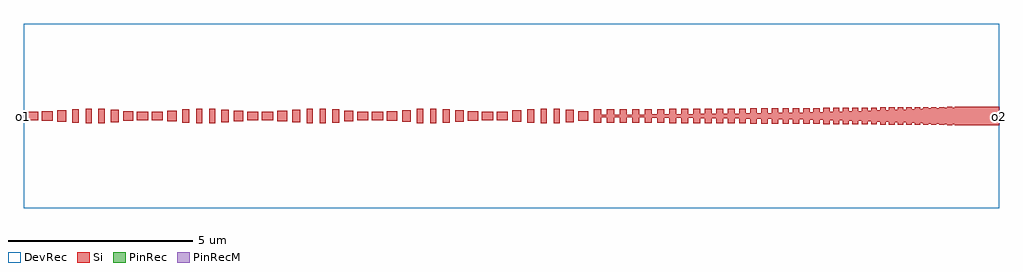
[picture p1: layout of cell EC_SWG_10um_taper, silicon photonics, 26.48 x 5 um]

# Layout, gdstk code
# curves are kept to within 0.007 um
import gdstk
lib = gdstk.Library(unit=1e-6, precision=1e-09)
def R(c, l, rs):  # rectangles x0, y0, x1, y1
    for r in rs: c.add(gdstk.rectangle(r[:2], r[2:], *l))
def P(c, l, *ps):  # polygons
    for p in ps: c.add(gdstk.Polygon(p, *l))
Si = (1, 0)
PinRec = (1, 10)
PinRecM = (1, 11)
DevRec = (68, 0)

nonlinear_taper_3 = lib.new_cell('Nonlinear_Taper$3')
P(nonlinear_taper_3, Si, [(10,-0.25),(8.081,-0.164),(5.758,-0.098),(3.535,-0.062),(0,-0.03),(0,0.03),(3.535,0.062),(5.758,0.098),(8.081,0.164),(10,0.25)])

rectangle_s1_0p5_lwg_cf_ = lib.new_cell('rectangle_S1_0p5_LWG_CF_2a77620c$3')
R(rectangle_s1_0p5_lwg_cf_, Si, [(0,0,1,0.5)])

ec_swg_10um_taper = lib.new_cell('EC_SWG_10um_taper')
R(ec_swg_10um_taper, Si, [(25.027,-0.248,25.163,0.248), (24.818,-0.246,24.956,0.246), (24.605,-0.244,24.745,0.244), (24.387,-0.242,24.53,0.242), (24.166,-0.241,24.311,0.241), (23.941,-0.239,24.087,0.239), (23.712,-0.237,23.86,0.237), (23.478,-0.235,23.629,0.235), (23.241,-0.233,23.393,0.233), (22.999,-0.231,23.154,0.231), (22.754,-0.229,22.91,0.229), (22.504,-0.227,22.662,0.227), (22.25,-0.225,22.41,0.225), (21.992,-0.223,22.153,0.223), (21.729,-0.221,21.893,0.221), (21.462,-0.219,21.628,0.219), (21.191,-0.217,21.359,0.217), (20.916,-0.215,21.085,0.215), (20.636,-0.213,20.807,0.213), (20.352,-0.211,20.525,0.211), (20.064,-0.209,20.239,0.209), (19.772,-0.207,19.948,0.207), (19.475,-0.205,19.653,0.205), (19.174,-0.203,19.353,0.203), (18.868,-0.201,19.05,0.201), (1.443,-0.2,1.604,0.2), (10.795,-0.2,10.956,0.2), (4.442,-0.199,4.605,0.199), (7.793,-0.199,7.956,0.199), (13.794,-0.199,13.956,0.199), (18.559,-0.199,18.742,0.199), (18.245,-0.197,18.43,0.197), (4.79,-0.195,4.958,0.195), (7.438,-0.195,7.606,0.195), (17.927,-0.195,18.113,0.195), (14.14,-0.193,14.312,0.193), (17.605,-0.193,17.792,0.193), (1.786,-0.191,1.962,0.191), (17.278,-0.191,17.467,0.191), (10.432,-0.19,10.608,0.19), (16.948,-0.189,17.138,0.189), (11.135,-0.188,11.316,0.188), (16.613,-0.188,16.805,0.188), (1.075,-0.187,1.257,0.187), (16.275,-0.186,16.468,0.186), (13.423,-0.184,13.61,0.184), (15.932,-0.184,16.126,0.184), (15.585,-0.182,15.781,0.182), (8.129,-0.181,8.322,0.181), (4.065,-0.18,4.259,0.18), (15.235,-0.18,15.432,0.18), (5.124,-0.173,5.33,0.173), (7.052,-0.171,7.26,0.171), (14.473,-0.168,14.686,0.168), (2.118,-0.164,2.339,0.164), (10.036,-0.162,10.261,0.162), (11.468,-0.159,11.697,0.159), (0.675,-0.157,0.909,0.157), (13.019,-0.152,13.261,0.152), (8.463,-0.149,8.709,0.149), (3.657,-0.147,3.908,0.147), (5.46,-0.14,5.723,0.14), (6.637,-0.137,6.906,0.137), (14.811,-0.135,15.083,0.135), (2.459,-0.131,2.739,0.131), (9.616,-0.128,9.901,0.128), (11.811,-0.127,12.099,0.127), (0.253,-0.124,0.547,0.124), (12.596,-0.121,12.895,0.121), (8.814,-0.12,9.115,0.12), (3.234,-0.117,3.539,0.117), (5.82,-0.115,6.131,0.115), (6.215,-0.113,6.53,0.113), (2.828,-0.111,3.146,0.111), (-0.16,-0.11,0.16,0.11), (9.199,-0.11,9.519,0.11), (12.186,-0.11,12.505,0.11)])
R(ec_swg_10um_taper, DevRec, [(-0.24,-2.5,26.235,2.5)])
ec_swg_10um_taper.add(gdstk.FlexPath([(-0.235,0),(-0.245,0)], 0.22, ends="flush", simple_path=True, layer=1, datatype=10))  # PinRec
ec_swg_10um_taper.add(gdstk.FlexPath([(26.23,0),(26.24,0)], 0.5, ends="flush", simple_path=True, layer=1, datatype=10))  # PinRec
ec_swg_10um_taper.add(gdstk.FlexPath([(-0.235,0),(-0.245,0)], 0.22, ends="flush", simple_path=True, layer=1, datatype=11))  # PinRecM
ec_swg_10um_taper.add(gdstk.FlexPath([(26.23,0),(26.24,0)], 0.5, ends="flush", simple_path=True, layer=1, datatype=11))  # PinRecM
ec_swg_10um_taper.add(gdstk.Reference(nonlinear_taper_3, (15.235,0)))
ec_swg_10um_taper.add(gdstk.Reference(rectangle_s1_0p5_lwg_cf_, (25.235,-0.25)))
ec_swg_10um_taper.add(gdstk.Label('o1', (-0.24,0), layer=1, texttype=10))
ec_swg_10um_taper.add(gdstk.Label('o2', (26.235,0), layer=1, texttype=10))
ec_swg_10um_taper.add(gdstk.Label('o1', (-0.24,0), layer=1, texttype=11))
ec_swg_10um_taper.add(gdstk.Label('o2', (26.235,0), layer=1, texttype=11))

lib.write_gds('EC_SWG_10um_taper.gds')
